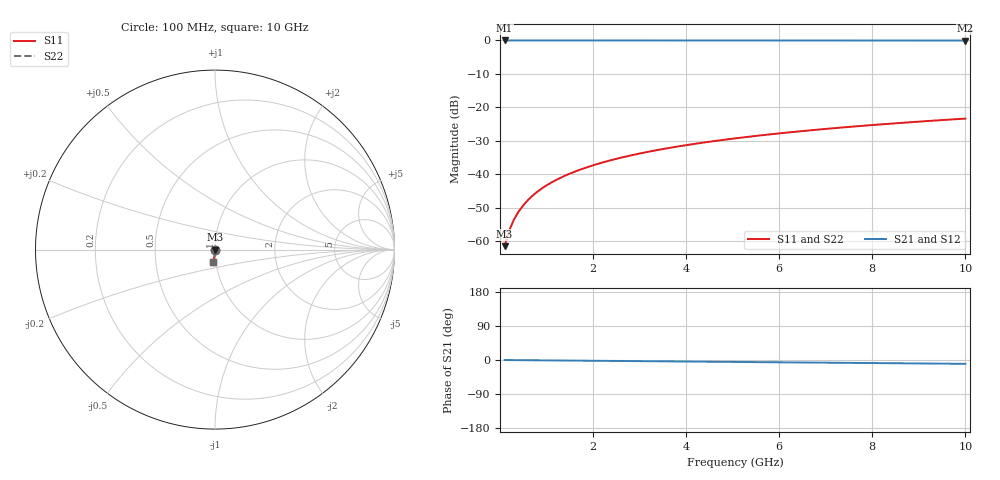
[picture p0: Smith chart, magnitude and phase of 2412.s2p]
# Hz S RI R 50.00
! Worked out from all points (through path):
!   100 points, 100 MHz to 10 GHz, reference 50 ohm
!   highest |S21| = 0.00 dB at 100 MHz (marker M1); lowest = 0.0 dB at 10 GHz (marker M2)
!   group delay of S21, straight-line fit = 2.8 ps
!   lowest |S11| = -61.4 dB at 100 MHz (marker M3), VSWR 1.00, Z = 50.1 - j0.0684 ohm
!   |S11| at or under -10 dB: start of sweep to end of sweep
!   |S22| runs from -61.4 to -23.3 dB; largest |S21 - S12| = 0
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1e8  0.000502 -0.000684  0.9995 -0.00176  0.9995 -0.00176  0.000502 -0.000684
2e8  0.000501 -0.00137  0.9995 -0.00351  0.9995 -0.00351  0.000501 -0.00137
3e8  0.000496 -0.00205  0.9995 -0.00527  0.9995 -0.00527  0.000496 -0.00205
4e8  0.000489 -0.00273  0.9995 -0.00703  0.9995 -0.00703  0.000489 -0.00273
5e8  0.000479 -0.00342  0.9994 -0.00879  0.9994 -0.00879  0.000479 -0.00342
6e8  0.000466 -0.0041  0.9994 -0.0105  0.9994 -0.0105  0.000466 -0.0041
7e8  0.000451 -0.00479  0.9994 -0.0123  0.9994 -0.0123  0.000451 -0.00479
8e8  0.000433 -0.00547  0.9994 -0.0141  0.9994 -0.0141  0.000433 -0.00547
9e8  0.000412 -0.00615  0.9993 -0.0158  0.9993 -0.0158  0.000412 -0.00615
1.1e9  0.000364 -0.00752  0.9992 -0.0193  0.9992 -0.0193  0.000364 -0.00752
1.4e9  0.000274 -0.00957  0.9991 -0.0246  0.9991 -0.0246  0.000274 -0.00957
1.8e9  0.000119 -0.0123  0.9989 -0.0316  0.9989 -0.0316  0.000119 -0.0123
2.1e9  -2.26e-05 -0.0143  0.9987 -0.0369  0.9987 -0.0369  -2.26e-05 -0.0143
2.5e9  -0.000245 -0.0171  0.9983 -0.0439  0.9983 -0.0439  -0.000245 -0.0171
2.9e9  -0.000506 -0.0198  0.9979 -0.0509  0.9979 -0.0509  -0.000506 -0.0198
3.4e9  -0.000887 -0.0232  0.9974 -0.0597  0.9974 -0.0597  -0.000887 -0.0232
4.2e9  -0.00162 -0.0286  0.9963 -0.0737  0.9963 -0.0737  -0.00162 -0.0286
5.1e9  -0.00263 -0.0347  0.9948 -0.0895  0.9948 -0.0895  -0.00263 -0.0347
5.9e9  -0.00369 -0.0401  0.9932 -0.1035  0.9932 -0.1035  -0.00369 -0.0401
6.7e9  -0.0049 -0.0455  0.9914 -0.1174  0.9914 -0.1174  -0.0049 -0.0455
8.4e9  -0.00797 -0.0567  0.9868 -0.147  0.9868 -0.147  -0.00797 -0.0567
1e10  -0.0115 -0.0671  0.9816 -0.1747  0.9816 -0.1747  -0.0115 -0.0671
